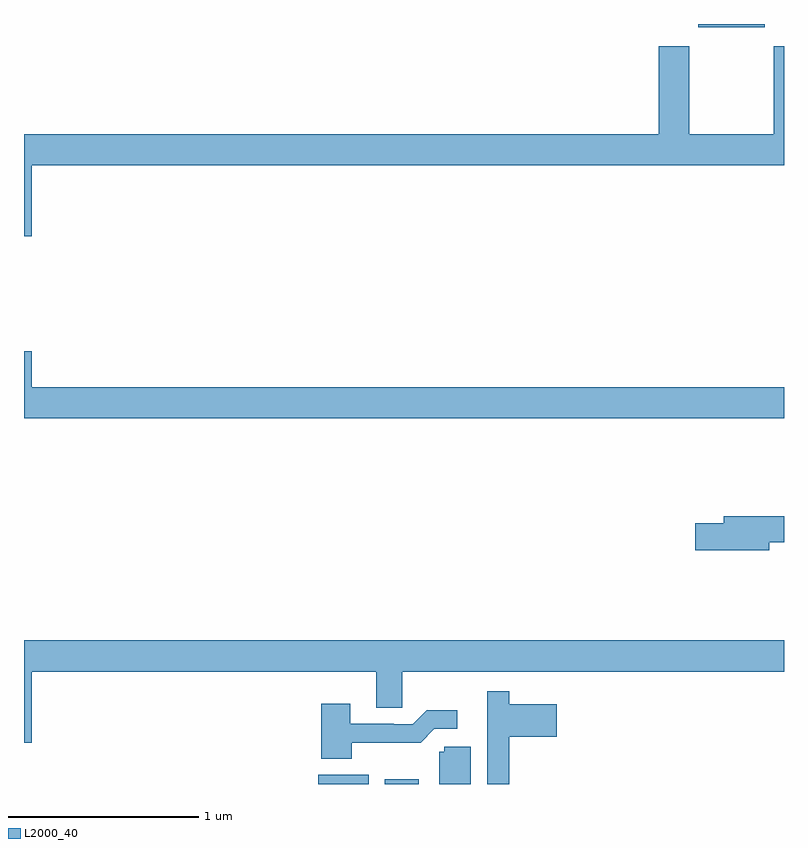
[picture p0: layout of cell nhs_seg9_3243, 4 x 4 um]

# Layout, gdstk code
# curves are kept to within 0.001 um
import gdstk
lib = gdstk.Library(unit=1e-6, precision=1e-09)
def R(c, l, rs):  # rectangles x0, y0, x1, y1
    for r in rs: c.add(gdstk.rectangle(r[:2], r[2:], *l))
def P(c, l, *ps):  # polygons
    for p in ps: c.add(gdstk.Polygon(p, *l))
L2000_40 = (2000, 40)

nhs_seg9_3243 = lib.new_cell('nhs_seg9_3243')
R(nhs_seg9_3243, L2000_40, [(298.549,1190.5,298.814,1190.548), (298.899,1190.5,299.077,1190.524), (300.548,1194.482,300.898,1194.5)])
P(nhs_seg9_3243, L2000_40, [(297.04,1193.756),(301,1193.756),(301,1194.382),(300.946,1194.382),(300.946,1193.92),(300.501,1193.92),(300.501,1194.382),(300.341,1194.382),(300.341,1193.92),(297,1193.92),(297,1193.382),(297.04,1193.382)],
  [(301,1192.588),(297.04,1192.588),(297.04,1192.777),(297,1192.777),(297,1192.424),(301,1192.424)],
  [(300.922,1191.772),(301,1191.772),(301,1191.908),(300.683,1191.908),(300.683,1191.872),(300.534,1191.872),(300.534,1191.73),(300.922,1191.73)],
  [(297.04,1191.092),(298.853,1191.092),(298.853,1190.902),(298.992,1190.902),(298.992,1191.092),(301,1191.092),(301,1191.256),(297,1191.256),(297,1190.718),(297.04,1190.718)],
  [(299.555,1190.75),(299.803,1190.75),(299.803,1190.92),(299.555,1190.92),(299.555,1190.989),(299.438,1190.989),(299.438,1190.766),(299.439,1190.766),(299.439,1190.5),(299.555,1190.5)],
  [(298.725,1190.718),(299.087,1190.717),(299.16,1190.79),(299.281,1190.79),(299.281,1190.887),(299.119,1190.887),(299.046,1190.814),(298.946,1190.814),(298.946,1190.817),(298.717,1190.817),(298.717,1190.923),(298.565,1190.923),(298.565,1190.633),(298.725,1190.633)],
  [(299.35,1190.697),(299.211,1190.697),(299.211,1190.67),(299.186,1190.67),(299.186,1190.5),(299.35,1190.5)])

lib.write_gds('nhs_seg9_3243.gds')
